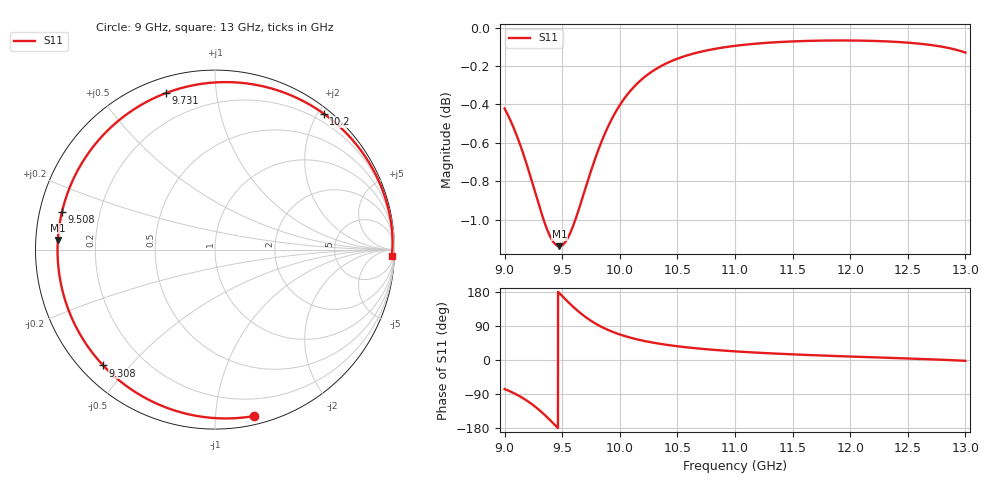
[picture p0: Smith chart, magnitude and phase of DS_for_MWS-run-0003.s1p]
! TOUCHSTONE file generated by CST DESIGN STUDIO
! Date and time: Tue Feb  4 18:11:09 2025
! Project name: C:\Work\MatlabApps\UnitCellOptimizationMatlab\CST\unitcell.cst
! Tree item: Tasks\Sweep1\SPara1\S-Parameters
! Header version: 2024
! Port assignment regex: !\s*Touchstone port\s*([0-9]+)\s*=\s*(CST MWS port|CST DES external port|CST DES block port)\s*(.+)\s* \(\"(.*)\"\)(\s*mode\s*([0-9]+))?.*
! Touchstone port assignment:
! Touchstone port 1 = CST DES external port 1 ("")
# GHz S MA R 50
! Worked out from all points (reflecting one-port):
!   4001 points, 9 GHz to 13 GHz, reference 50 ohm
!   lowest |S11| = -1.1 dB at 9.475 GHz (marker M1), VSWR 15.29, Z = 3.27 + j1.51 ohm
!   phase of S11 starts at -77 deg and turns -286 deg over the sweep
!   S11 on the Smith chart (normalised r, x): 9 GHz: 0.06, -1.26; 9.308 GHz: 0.06, -0.42; 9.508 GHz: 0.07, +0.12; 9.731 GHz: 0.07, +0.73; 10.2 GHz: 0.08, +2.08; 13 GHz: 18, -45
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9  0.9526 -76.7
9.077  0.9419 -87.0
9.175  0.9246 -103.7
9.244  0.9104 -118.2
9.308  0.8971 -134.0
9.351  0.889 -145.8
9.398  0.882 -159.6
9.437  0.8784 -171.6
9.475  0.8772 176.5
9.5  0.8777 168.7
9.508  0.8781 166.2
9.56  0.8829 150.5
9.621  0.8924 133.4
9.675  0.9028 119.8
9.731  0.914 107.3
9.784  0.9241 97.1
9.844  0.9343 87.1
9.92  0.9453 76.5
10  0.9546 67.4
10.093  0.9629 58.9
10.196  0.9698 51.3
10.336  0.9764 43.3
10.5  0.9815 36.3
11  0.9891 22.8
11.5  0.9917 14.9
12  0.9923 9.1
12.5  0.991 4.0
13  0.9851 -2.2
